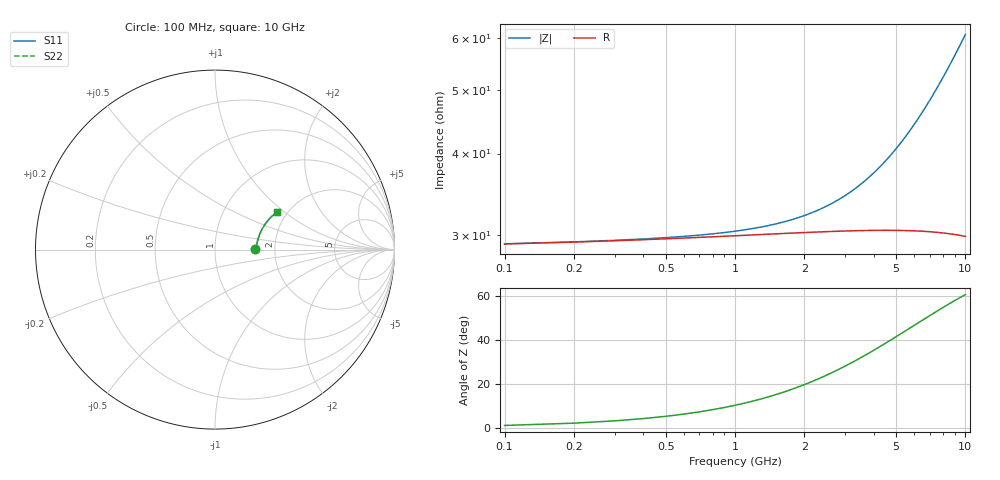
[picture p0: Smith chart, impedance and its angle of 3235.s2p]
# Hz S RI R 50.00
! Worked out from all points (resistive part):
!   100 points, 100 MHz to 10 GHz, reference 50 ohm
!   read as one part in series: R = 29.1 ohm at 100 MHz
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1e8  0.2254 0.00264  0.7746 -0.00378  0.7746 -0.00378  0.2254 0.00264
2e8  0.2266 0.00526  0.7734 -0.00755  0.7734 -0.00755  0.2266 0.00526
3e8  0.2274 0.00787  0.7725 -0.0113  0.7725 -0.0113  0.2274 0.00787
5e8  0.2289 0.0131  0.7711 -0.0188  0.7711 -0.0188  0.2289 0.0131
9e8  0.2312 0.0234  0.7687 -0.0337  0.7687 -0.0337  0.2312 0.0234
1.2e9  0.2329 0.031  0.7669 -0.0447  0.7669 -0.0447  0.2329 0.031
1.5e9  0.2347 0.0386  0.7651 -0.0558  0.7651 -0.0558  0.2347 0.0386
1.8e9  0.2365 0.0462  0.7632 -0.0667  0.7632 -0.0667  0.2365 0.0462
2.2e9  0.2392 0.0561  0.7604 -0.0813  0.7604 -0.0813  0.2392 0.0561
2.6e9  0.2422 0.0659  0.7573 -0.0957  0.7573 -0.0957  0.2422 0.0659
3e9  0.2455 0.0756  0.7538 -0.1099  0.7538 -0.1099  0.2455 0.0756
3.4e9  0.249 0.0852  0.7501 -0.1241  0.7501 -0.1241  0.249 0.0852
3.8e9  0.2529 0.0945  0.746 -0.138  0.746 -0.138  0.2529 0.0945
4.2e9  0.2571 0.1037  0.7416 -0.1518  0.7416 -0.1518  0.2571 0.1037
4.6e9  0.2616 0.1127  0.7368 -0.1653  0.7368 -0.1653  0.2616 0.1127
5.1e9  0.2676 0.1236  0.7304 -0.182  0.7304 -0.182  0.2676 0.1236
5.9e9  0.2782 0.1403  0.7192 -0.2079  0.7192 -0.2079  0.2782 0.1403
6.7e9  0.2898 0.156  0.7068 -0.2328  0.7068 -0.2328  0.2898 0.156
7.6e9  0.3041 0.1724  0.6916 -0.2596  0.6916 -0.2596  0.3041 0.1724
8.4e9  0.3176 0.1858  0.6771 -0.2823  0.6771 -0.2823  0.3176 0.1858
9.2e9  0.3319 0.198  0.6618 -0.3037  0.6618 -0.3037  0.3319 0.198
1e10  0.3468 0.2089  0.6457 -0.324  0.6457 -0.324  0.3468 0.2089
